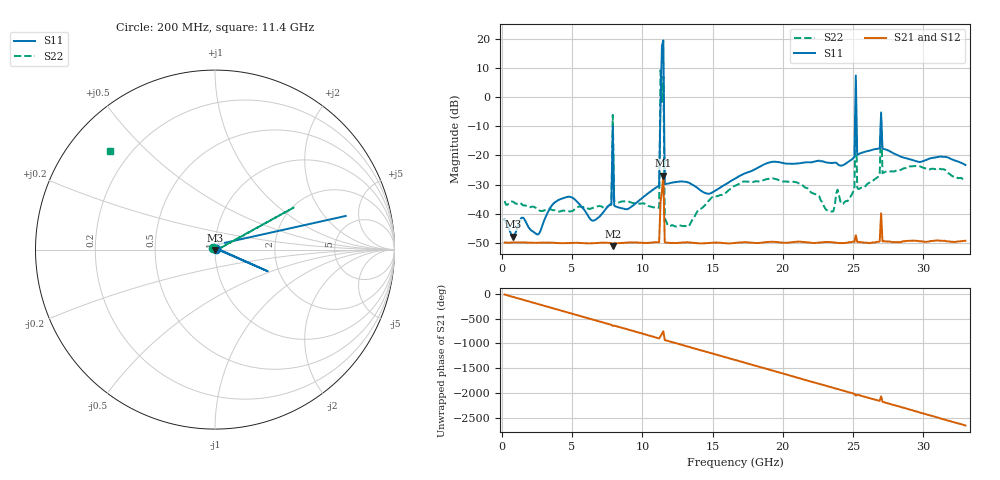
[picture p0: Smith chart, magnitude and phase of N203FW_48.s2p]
# GHZ S RI R 50
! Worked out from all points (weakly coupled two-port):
!   329 points, 200 MHz to 33 GHz, reference 50 ohm
!   highest |S21| = -26.97 dB at 11.5 GHz (marker M1); lowest = -51.2 dB at 7.9 GHz (marker M2)
!   lowest |S11| = -47.9 dB at 800 MHz (marker M3), VSWR 1.01, Z = 50 - j0.401 ohm
!   |S11| at or under -10 dB: start of sweep to 7.9 GHz; 11.56 GHz to 25.14 GHz (13.58 GHz wide, 74 % of centre); 27.04 GHz to end of sweep (the widest 3 of 5)
!   |S22| runs from -44.6 to 9.3 dB; largest |S21 - S12| = 0.0098
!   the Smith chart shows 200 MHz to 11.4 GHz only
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0.2  0.00603 0.00512  0.00305 -0.000895  0.00306 -0.000888  -0.0139 0.00877
0.8  0.000451 -0.00401  0.00139 -0.00287  0.00138 -0.00287  -0.0123 0.0102
5.7  0.0066 0.0112  -0.000439 -0.00309  -0.000455 -0.00309  0.00693 -0.0109
7.8  -0.00893 0.011  -0.000207 0.00311  -0.000214 0.00312  -0.00825 -0.0126
7.9  0.294 -0.1208  0.000855 0.00262  0.000844 0.00252  0.4378 0.2338
8  -0.00439 0.013  0.000654 0.00303  0.000655 0.00304  -0.0108 -0.0122
11.2  0.0104 0.0281  -0.00323 -5.62e-05  -0.00323 -6.12e-05  -0.0101 0.00731
11.3  0.7283 0.1874  -0.0111 -0.0114  -0.0113 -0.00843  0.3438 2.904
11.4  4.353 6.406  0.00263 -0.0243  0.00171 -0.0234  -0.5832 0.5504
11.5  8.852 -3.352  0.0368 -0.0256  0.0362 -0.0261  -0.2042 -2.252
11.6  0.0287 0.0141  -0.00271 0.0017  -0.00271 0.0017  -0.0062 0.0056
16.6  -0.033 0.0221  -0.00105 0.00295  -0.00104 0.00295  -0.0297 0.00523
22.1  -0.0293 -0.0708  0.00283 0.00135  0.00283 0.00135  0.0194 0.0115
23.5  0.00653 0.074  0.000152 -0.00322  0.000141 -0.00323  0.0101 -0.00388
25.1  -0.04 -0.0847  -0.00268 0.00182  -0.00272 0.00183  -0.0244 -0.00938
25.2  2.268 0.6628  -0.00155 0.00396  -0.00135 0.00398  0.2893 0.5334
25.3  -0.0756 -0.0682  -0.00209 0.00251  -0.00207 0.0025  -0.0275 -0.00379
26.9  0.0631 0.1153  0.00332 0.000194  0.00327 0.000162  -0.0412 0.0201
27  0.3944 -0.3816  -0.001 0.01  -0.000699 0.000232  -0.1982 0.3449
27.1  0.1004 0.0835  0.00324 -0.000777  0.00323 -0.000798  -0.0415 0.027
27.6  0.1151 -0.0295  0.00184 -0.00274  0.00189 -0.00271  -0.0358 0.0391
33  0.0175 0.0663  -0.0022 -0.00261  -0.0022 -0.00259  0.035 0.0118
